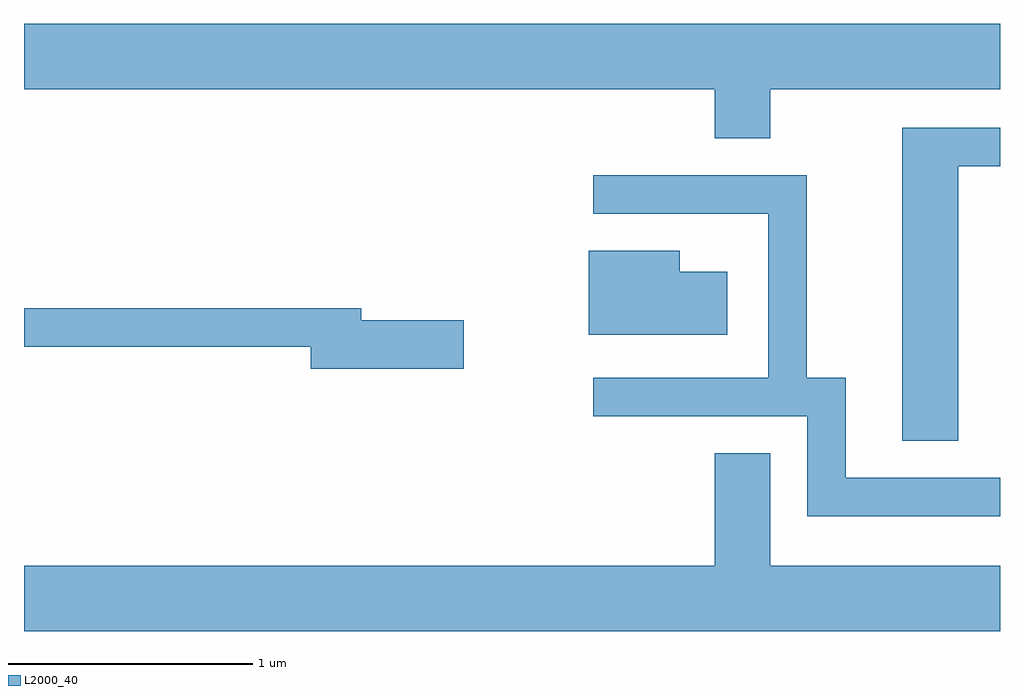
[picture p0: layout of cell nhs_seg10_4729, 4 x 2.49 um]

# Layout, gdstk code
import gdstk
lib = gdstk.Library(unit=1e-6, precision=1e-09)
def P(c, l, *ps):  # polygons
    for p in ps: c.add(gdstk.Polygon(p, *l))
L2000_40 = (2000, 40)

nhs_seg10_4729 = lib.new_cell('nhs_seg10_4729')
P(nhs_seg10_4729, L2000_40, [(326.669,2196.056),(327.611,2196.056),(327.611,2196.324),(323.611,2196.324),(323.611,2196.056),(326.441,2196.056),(326.441,2195.856),(326.669,2195.856)],
  [(327.439,2195.741),(327.611,2195.741),(327.611,2195.899),(327.211,2195.899),(327.211,2194.616),(327.439,2194.616)],
  [(327.611,2194.464),(326.979,2194.464),(326.979,2194.874),(326.819,2194.874),(326.819,2195.704),(325.943,2195.704),(325.943,2195.546),(326.661,2195.546),(326.661,2194.874),(325.943,2194.874),(325.943,2194.716),(326.821,2194.716),(326.821,2194.306),(327.611,2194.306)],
  [(326.494,2195.309),(326.299,2195.309),(326.299,2195.394),(325.926,2195.394),(325.926,2195.051),(326.494,2195.051)],
  [(325.414,2195.109),(324.994,2195.109),(324.994,2195.159),(323.611,2195.159),(323.611,2195.001),(324.786,2195.001),(324.786,2194.911),(325.414,2194.911)],
  [(327.611,2194.104),(326.669,2194.104),(326.669,2194.564),(326.441,2194.564),(326.441,2194.104),(323.611,2194.104),(323.611,2193.836),(327.611,2193.836)])

lib.write_gds('nhs_seg10_4729.gds')
